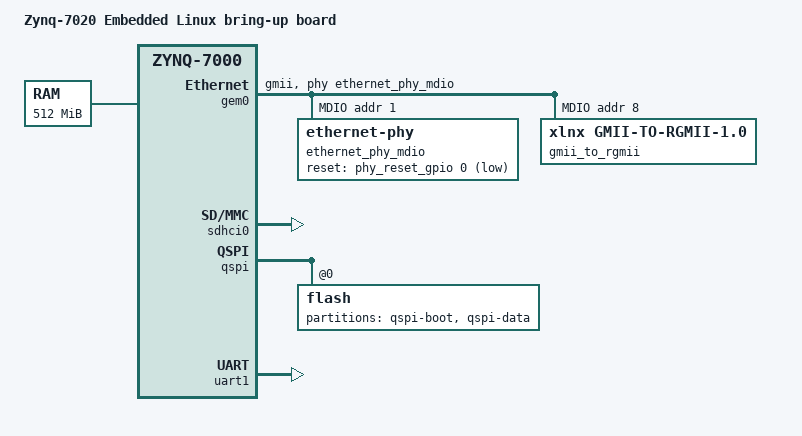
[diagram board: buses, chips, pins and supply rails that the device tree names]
/dts-v1/;

#include "xilinx/zynq-zc702.dts"
#include <dt-bindings/gpio/gpio.h>

/ {
	model = "Zynq-7020 Embedded Linux bring-up board";
	compatible = "xlnx,zynq-7020", "xlnx,zynq-7000";

	chosen {
		bootargs = "console=ttyPS0,115200 rdinit=/init loglevel=8";
		stdout-path = "serial0:115200n8";
	};

	memory@0 {
		device_type = "memory";
		reg = <0x00000000 0x20000000>;
	};

	phy_reset_gpio: gpio@41210000 {
		compatible = "xlnx,xps-gpio-1.00.a";
		reg = <0x41210000 0x10000>;
		clocks = <&clkc 15>;
		gpio-controller;
		#gpio-cells = <2>;
		xlnx,all-inputs = <0>;
		xlnx,all-outputs = <1>;
		xlnx,dout-default = <0>;
		xlnx,gpio-width = <1>;
		xlnx,interrupt-present = <0>;
		xlnx,is-dual = <0>;
		xlnx,tri-default = <0>;
	};
};

&gem0 {
	/delete-property/ pinctrl-names;
	/delete-property/ pinctrl-0;
	/delete-property/ phy-reset-gpio;
	/delete-property/ phy-reset-active-low;
	status = "okay";
	phy-mode = "gmii";
	/* Keep the GEM TX gate enabled even though its rate comes from PL.
	 * The MACB patch skips PS-divider rate changes for Zynq GMII.
	 */
	clocks = <&clkc 30>, <&clkc 30>, <&clkc 13>;
	clock-names = "pclk", "hclk", "tx_clk";
	/* Lab-only locally administered address; the board has no valid factory MAC. */
	local-mac-address = [02 00 00 70 20 01];
	phy-handle = <&ethernet_phy_mdio>;
	/delete-node/ ethernet-phy@7;

	mdio {
		#address-cells = <1>;
		#size-cells = <0>;

		ethernet_phy_mdio: ethernet-phy@1 {
			reg = <1>;
			reset-gpios = <&phy_reset_gpio 0 GPIO_ACTIVE_LOW>;
			reset-assert-us = <10000>;
			reset-deassert-us = <50000>;
		};

		gmii_to_rgmii: gmii-to-rgmii@8 {
			compatible = "xlnx,gmii-to-rgmii-1.0";
			reg = <8>;
			phy-handle = <&ethernet_phy_mdio>;
			clocks = <&clkc 16>;
		};
	};
};

&gem1 {
	status = "disabled";
};

&sdhci0 {
	status = "okay";
	/* The board's MIO47 card-detect polarity differs from the ZC702 base DT. */
	broken-cd;
	disable-wp;
};

&qspi {
	status = "okay";

	flash@0 {
		/delete-node/ partitions;

		partitions {
			compatible = "fixed-partitions";
			#address-cells = <1>;
			#size-cells = <1>;

			qspi_boot: partition@0 {
				label = "qspi-boot";
				reg = <0x00000000 0x00600000>;
			};

			qspi_data: partition@600000 {
				label = "qspi-data";
				reg = <0x00600000 0x01a00000>;
			};
		};
	};
};

&uart1 {
	/delete-property/ pinctrl-names;
	/delete-property/ pinctrl-0;
	status = "okay";
};
